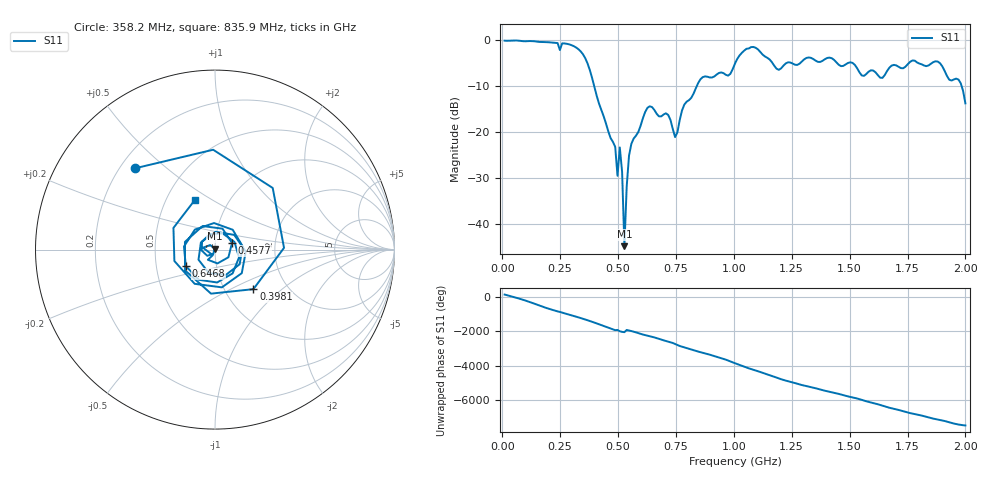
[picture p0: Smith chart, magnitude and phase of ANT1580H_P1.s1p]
!Created with skrf (http://scikit-rf.org).
# Hz S RI R 50.0
!freq ReS11 ImS11
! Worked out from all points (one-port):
!   201 points, 10 MHz to 2 GHz, reference 50 ohm
!   lowest |S11| = -44.8 dB at 527.4 MHz (marker M1), VSWR 1.01, Z = 49.7 + j0.502 ohm
!   |S11| at or under -10 dB: 396.8 MHz to 840.1 MHz (443.3 MHz wide, 71.7 % of centre); 1.984 GHz to end of sweep
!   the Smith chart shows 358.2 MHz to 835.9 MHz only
!   S11 on the Smith chart (normalised r, x): 358.2 MHz: 0.26, +0.40; 398.1 MHz: 1.36, -0.66; 457.8 MHz: 1.21, +0.09; 646.8 MHz: 0.71, -0.13; 835.9 MHz: 0.69, +0.42
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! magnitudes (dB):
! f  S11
! 10 MHz  -0.1
! 258.8 MHz  -0.7
! 358.2 MHz  -3.9
! 398.1 MHz  -10.3
! 457.8 MHz  -19.8
! 487.6 MHz  -23.2
! 497.6 MHz  -29.5
! 507.5 MHz  -23.3
! 517.5 MHz  -28.7
! 527.4 MHz  -44.8
! 537.4 MHz  -31.8
! 547.3 MHz  -25.1
! 557.2 MHz  -22.6
! 646.8 MHz  -14.6
! 716.5 MHz  -16.3
! 756.2 MHz  -20.1
! 786.1 MHz  -14.0
! 835.9 MHz  -10.5
! 1.005 GHz  -5.1
! 1.085 GHz  -1.5
! 1.194 GHz  -6.5
! 1.254 GHz  -5.1
! 1.502 GHz  -4.8
! 1.642 GHz  -8.2
! 1.751 GHz  -5.2
! 1.881 GHz  -4.7
! 1.97 GHz  -8.6
! 2 GHz  -13.8
